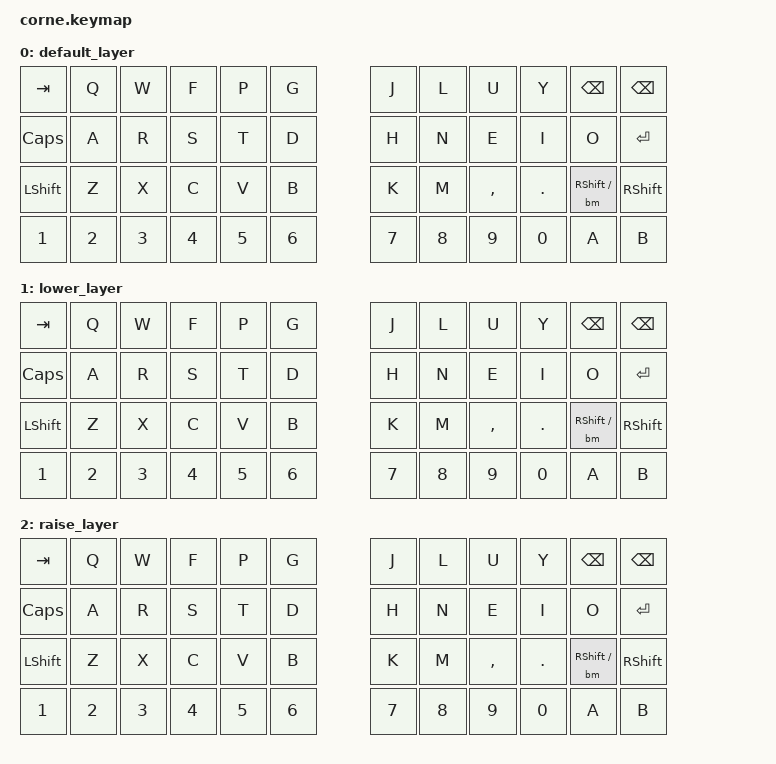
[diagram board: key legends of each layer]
/*
 * Copyright (c) 2020 The ZMK Contributors
 *
 * SPDX-License-Identifier: MIT
 */

#include <behaviors.dtsi>
#include <dt-bindings/zmk/keys.h>
#include <dt-bindings/zmk/bt.h>

/ {
        keymap {
                compatible = "zmk,keymap";

                default_layer {
// -----------------------------------------------------------------------------------------
// |  TAB |  Q  |  W  |  E  |  R  |  T  |   |  Y  |  U   |  I  |  O  |  P  | BSPC |
// | CTRL |  A  |  S  |  D  |  F  |  G  |   |  H  |  J   |  K  |  L  |  ;  |  '   |
// | SHFT |  Z  |  X  |  C  |  V  |  B  |   |  N  |  M   |  ,  |  .  |  /  | ESC  |
//                    | GUI | LWR | SPC |   | ENT | RSE  | ALT |
                        bindings = <
                &kp TAB       &kp Q         &kp W &kp F     &kp P    &kp G          &kp J        &kp L            &kp U     &kp Y   &kp BSPC       &kp BSPC
                &kp CAPS      &kp A         &kp R &kp S     &kp T    &kp D          &kp H        &kp N            &kp E     &kp I   &kp O          &kp ENTER
                &kp LSHFT     &kp Z   &kp X &kp C     &kp V    &kp B          &kp K        &kp M            &kp COMMA &kp DOT &bm RSHFT FSLH &kp RSHFT
                &kp 1   &kp 2   &kp 3   &kp 4   &kp 5   &kp 6   &kp 7   &kp 8   &kp 9   &kp 0   &kp A   &kp B
                        >;
                };
                lower_layer {
// -----------------------------------------------------------------------------------------
// |  TAB |  1  |  2  |  3  |  4  |  5  |   |  6  |  7  |  8  |  9  |  0  | BSPC |
// | BTCLR| BT1 | BT2 | BT3 | BT4 | BT5 |   | LFT | DWN |  UP | RGT |     |      |
// | SHFT |     |     |     |     |     |   |     |     |     |     |     |      |
//                    | GUI |     | SPC |   | ENT |     | ALT |
                        bindings = <
                &kp TAB       &kp Q         &kp W &kp F     &kp P    &kp G          &kp J        &kp L            &kp U     &kp Y   &kp BSPC       &kp BSPC
                &kp CAPS      &kp A         &kp R &kp S     &kp T    &kp D          &kp H        &kp N            &kp E     &kp I   &kp O          &kp ENTER
                &kp LSHFT     &kp Z   &kp X &kp C     &kp V    &kp B          &kp K        &kp M            &kp COMMA &kp DOT &bm RSHFT FSLH &kp RSHFT
                &kp 1   &kp 2   &kp 3   &kp 4   &kp 5   &kp 6   &kp 7   &kp 8   &kp 9   &kp 0   &kp A   &kp B
                        >;
                };

                raise_layer {
// -----------------------------------------------------------------------------------------
// |  TAB |  !  |  @  |  #  |  $  |  %  |   |  ^  |  &  |  *  |  (  |  )  | BSPC |
// | CTRL |     |     |     |     |     |   |  -  |  =  |  [  |  ]  |  \  |  `   |
// | SHFT |     |     |     |     |     |   |  _  |  +  |  {  |  }  | "|" |  ~   |
//                    | GUI |     | SPC |   | ENT |     | ALT |
                        bindings = <
                   &kp TAB       &kp Q         &kp W &kp F     &kp P    &kp G          &kp J        &kp L            &kp U     &kp Y   &kp BSPC       &kp BSPC
                &kp CAPS      &kp A         &kp R &kp S     &kp T    &kp D          &kp H        &kp N            &kp E     &kp I   &kp O          &kp ENTER
                &kp LSHFT     &kp Z   &kp X &kp C     &kp V    &kp B          &kp K        &kp M            &kp COMMA &kp DOT &bm RSHFT FSLH &kp RSHFT
                &kp 1   &kp 2   &kp 3   &kp 4   &kp 5   &kp 6   &kp 7   &kp 8   &kp 9   &kp 0   &kp A   &kp B
                        >;
                };
        };
};
